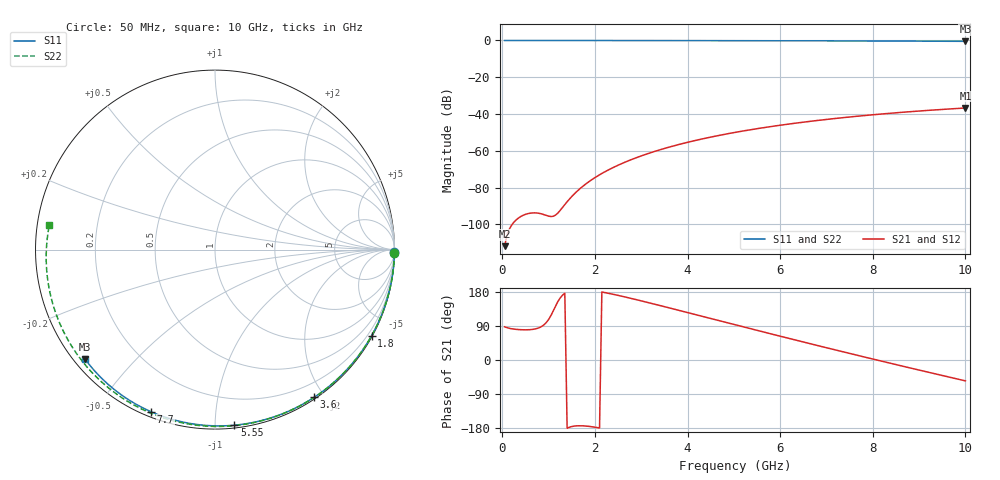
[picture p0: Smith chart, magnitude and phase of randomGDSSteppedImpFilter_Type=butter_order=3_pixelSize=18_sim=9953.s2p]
! freq	dB(S11)	phase(S11)	dB(S12)	phase(S12)
!  dB(S21)	phase(S21)	dB(S22)	phase(S22)
!S-par simulation data
#  GHz  S  DB  R 50
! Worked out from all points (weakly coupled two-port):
!   200 points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, 50 MHz to 10 GHz, reference 50 ohm
!   highest |S21| = -36.72 dB at 10 GHz (marker M1); lowest = -111.8 dB at 50 MHz (marker M2)
!   lowest |S11| = -0.5 dB at 10 GHz (marker M3), VSWR 36.55, Z = 1.55 - j18.3 ohm
!   |S11| at or under -10 dB: nowhere
!   |S22| runs from -0.6 to 0.0 dB; largest |S21 - S12| = 0
!   S11 on the Smith chart (normalised r, x): 50 MHz: open; 1.8 GHz: 0.03, -3.90; 3.6 GHz: 0.02, -1.87; 5.55 GHz: 0.02, -1.12; 7.7 GHz: 0.02, -0.68; 10 GHz: 0.03, -0.37
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0.05  -0.00 -0.8  -111.83 87.6  -111.83 87.6  -0.00 -1.1
0.45  -0.01 -7.3  -95.05 79.7  -95.05 79.7  -0.01 -9.8
0.85  -0.02 -13.7  -94.29 88.5  -94.29 88.5  -0.02 -18.4
1.25  -0.03 -20.1  -92.38 163.8  -92.38 163.8  -0.03 -26.8
1.7  -0.03 -27.2  -80.08 -173.6  -80.08 -173.6  -0.05 -36.3
1.75  -0.04 -28.0  -79.05 -173.8  -79.05 -173.8  -0.05 -37.3
1.8  -0.04 -28.8  -78.07 -174.3  -78.07 -174.3  -0.05 -38.3
2.1  -0.04 -33.4  -73.04 -179.4  -73.04 -179.4  -0.06 -44.5
2.5  -0.05 -39.6  -67.83 170.6  -67.83 170.6  -0.07 -52.7
2.9  -0.06 -45.7  -63.67 159.1  -63.67 159.1  -0.08 -60.6
3.4  -0.07 -53.2  -59.46 143.9  -59.46 143.9  -0.09 -70.4
3.6  -0.08 -56.1  -58.00 137.7  -58.00 137.7  -0.10 -74.3
4.3  -0.09 -66.3  -53.62 115.8  -53.62 115.8  -0.12 -87.4
5.05  -0.12 -76.9  -49.87 92.3  -49.87 92.3  -0.16 -101.1
5.55  -0.14 -83.7  -47.77 76.7  -47.77 76.7  -0.18 -109.9
6.1  -0.16 -91.1  -45.74 59.7  -45.74 59.7  -0.21 -119.5
6.7  -0.19 -98.9  -43.80 41.4  -43.80 41.4  -0.25 -129.9
7.2  -0.22 -105.3  -42.38 26.3  -42.38 26.3  -0.29 -138.4
7.7  -0.26 -111.6  -41.10 11.4  -41.10 11.4  -0.33 -147.0
8.35  -0.31 -119.7  -39.64 -7.7  -39.64 -7.7  -0.40 -158.3
9.2  -0.39 -130.1  -38.00 -32.3  -38.00 -32.3  -0.50 -173.4
10  -0.48 -139.8  -36.72 -55.0  -36.72 -55.0  -0.60 171.7
